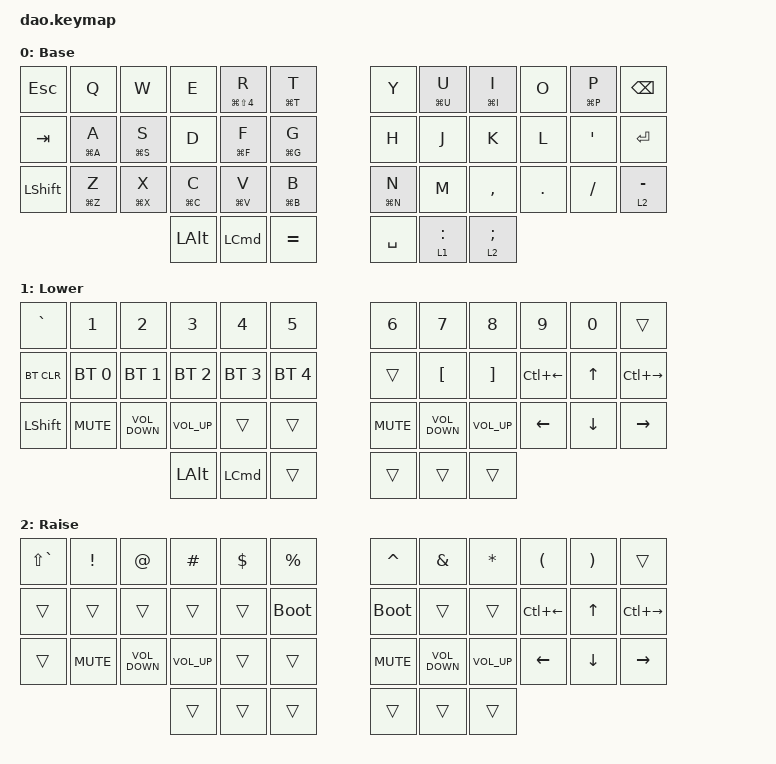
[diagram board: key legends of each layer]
/*
 * Copyright (c) 2021 Rafael Yumagulov
 *
 * SPDX-License-Identifier: MIT
 */

#include <behaviors.dtsi>
#include <dt-bindings/zmk/keys.h>
#include <dt-bindings/zmk/bt.h>

#define DEF 0
#define LWR 1
#define RSE 2

&mt {
    tapping-term-ms = <800>;
    flavor = "tap-preferred";
};

/ {
    combos {
        compatible = "zmk,combos";

        MouseScrollUp {
            bindings = <&kp PAGE_UP>;
            key-positions = <15 16>;
        };

        MouseScrollDown {
            bindings = <&kp PAGE_DOWN>;
            key-positions = <19 20>;
        };
    };

    chosen {
        zmk,physical_layout = &dao_crkbd_layout;
    };

    keymap {
        compatible = "zmk,keymap";

        default_layer {
            // -----------------------------------------------------------------------------------------
            // |  TAB |  Q  |  W  |  E  |  R  |  T  |   |  Y  |  U   |  I  |  O  |  P  | BKSP |
            // | CTRL |  A  |  S  |  D  |  F  |  G  |   |  H  |  J   |  K  |  L  |  ;  |  '   |
            // | SHFT |  Z  |  X  |  C  |  V  |  B  |   |  N  |  M   |  ,  |  .  |  /  | ESC  |
            //                    | GUI | LWR | SPC |   | ENT | RSE  | ALT |

            display-name = "Base";
            bindings = <
&kp ESC         &kp Q        &kp W        &kp E         &mt LG(LS(NUMBER_4)) R  &mt LG(T) T    &kp Y        &mt LG(U) U  &mt LG(I) I      &kp O    &mt LG(P) P       &kp BSPC
&kp TAB         &mt LG(A) A  &mt LG(S) S  &kp D         &mt LG(F) F             &mt LG(G) G    &kp H        &kp J        &kp K            &kp L    &kp SINGLE_QUOTE  &kp RET
&kp LEFT_SHIFT  &mt LG(Z) Z  &mt LG(X) X  &mt LG(C) C   &mt LG(V) V             &mt LG(B) B    &mt LG(N) N  &kp M        &kp COMMA        &kp DOT  &kp FSLH          &lt 2 MINUS
                                          &kp LEFT_ALT  &kp LEFT_COMMAND        &kp EQUAL      &kp SPACE    &lt 1 COLON  &lt 2 SEMICOLON
            >;
        };

        lower_layer {
            // -----------------------------------------------------------------------------------------
            // |  TAB |  1  |  2  |  3  |  4  |  5  |   |  6  |  7  |  8  |  9  |  0  | BKSP |
            // | BTCLR| BT1 | BT2 | BT3 | BT4 | BT5 |   | LFT | DWN |  UP | RGT |     |      |
            // | SHFT |     |     |     |     |     |   |     |     |     |     |     |      |
            //                    | GUI |     | SPC |   | ENT |     | ALT |

            display-name = "Lower";
            bindings = <
&kp GRAVE       &kp N1        &kp N2             &kp N3           &kp N4            &kp N5          &kp N6      &kp N7             &kp N8           &kp N9        &kp N0        &trans
&bt BT_CLR      &bt BT_SEL 0  &bt BT_SEL 1       &bt BT_SEL 2     &bt BT_SEL 3      &bt BT_SEL 4    &trans      &kp LBKT           &kp RBKT         &kp LC(LEFT)  &kp UP_ARROW  &kp LC(RIGHT)
&kp LEFT_SHIFT  &kp K_MUTE    &kp C_VOLUME_DOWN  &kp C_VOLUME_UP  &trans            &trans          &kp K_MUTE  &kp C_VOLUME_DOWN  &kp C_VOLUME_UP  &kp LEFT      &kp DOWN      &kp RIGHT
                                                 &kp LEFT_ALT     &kp LEFT_COMMAND  &trans          &trans      &trans             &trans
            >;
        };

        raise_layer {
            // -----------------------------------------------------------------------------------------
            // |  TAB |  !  |  @  |  #  |  $  |  %  |   |  ^  |  &  |  *  |  (  |  )  | BKSP |
            // | CTRL |     |     |     |     |     |   |  -  |  =  |  [  |  ]  |  \  |  `   |
            // | SHFT |     |     |     |     |     |   |  _  |  +  |  {  |  }  | "|" |  ~   |
            //                    | GUI |     | SPC |   | ENT |     | ALT |

            display-name = "Raise";
            bindings = <
&kp LS(GRAVE)  &kp EXCL    &kp AT_SIGN        &kp HASH         &kp DOLLAR  &kp PERCENT    &kp CARET    &kp AMPERSAND      &kp ASTERISK     &kp LEFT_PARENTHESIS  &kp RIGHT_PARENTHESIS  &trans
&trans         &trans      &trans             &trans           &trans      &bootloader    &bootloader  &trans             &trans           &kp LC(LEFT)          &kp UP_ARROW           &kp LC(RIGHT)
&trans         &kp K_MUTE  &kp C_VOLUME_DOWN  &kp C_VOLUME_UP  &trans      &trans         &kp K_MUTE   &kp C_VOLUME_DOWN  &kp C_VOLUME_UP  &kp LEFT              &kp DOWN_ARROW         &kp RIGHT
                                              &trans           &trans      &trans         &trans       &trans             &trans
            >;
        };

        extra_1 { status = "reserved"; };

        extra_2 { status = "reserved"; };

        extra_3 { status = "reserved"; };
    };
};
